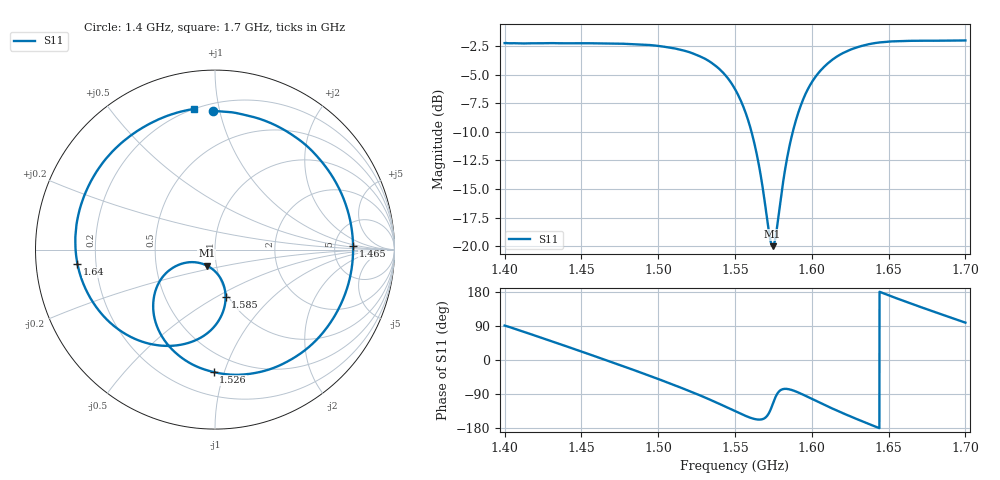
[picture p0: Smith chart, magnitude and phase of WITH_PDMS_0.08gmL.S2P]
!Keysight Technologies,E5063A,MY54503975,A.05.08
!Date: Fri Mar 07 04:41:50 2025
!Data & Calibration Information:
!Freq	S11:NONE(--)	S21:RESPT(ON)	S12:NONE(--)	S22:NONE(--)
# Hz S RI R 50
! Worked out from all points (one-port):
!   3001 points, 1.4 GHz to 1.7 GHz, reference 50 ohm
!   lowest |S11| = -20.0 dB at 1.575 GHz (marker M1), VSWR 1.22, Z = 45 - j8.09 ohm
!   |S11| at or under -10 dB: 1.561 GHz to 1.588 GHz (26.91 MHz wide, 1.71 % of centre)
!   S11 on the Smith chart (normalised r, x): 1.4 GHz: 0.25, +0.95; 1.465 GHz: 7.62, +0.68; 1.526 GHz: 0.36, -0.92; 1.585 GHz: 0.97, -0.56; 1.64 GHz: 0.13, -0.05; 1.7 GHz: 0.20, +0.84
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1.4e9  -0.0108 0.7715  -0 -0  0 0  0 0
1.424e9  0.4005 0.6581  0 -0  0 0  0 0
1.45e9  0.7126 0.293  -0 0  0 0  0 0
1.4648e9  0.7694 0.0182  -0 0  0 0  0 0
1.482e9  0.7017 -0.303  -0 0  0 0  0 0
1.5e9  0.481 -0.5757  0 -0  0 0  0 0
1.5133e9  0.2396 -0.6842  0 0  0 0  0 0
1.5256e9  -0.00769 -0.6823  0 0  0 0  0 0
1.5396e9  -0.2551 -0.5391  0 0  0 0  0 0
1.55e9  -0.3432 -0.3436  0 -0  0 0  0 0
1.562e9  -0.2651 -0.124  0 0  0 0  0 0
1.5745e9  -0.0454 -0.089  0 0  0 0  0 0
1.5854e9  0.0591 -0.2658  0 0  0 0  0 0
1.6e9  -0.1143 -0.5077  0 -0  0 0  0 0
1.6084e9  -0.2951 -0.5353  0 -0  0 0  0 0
1.6174e9  -0.484 -0.4787  -0 0  0 0  0 0
1.6291e9  -0.672 -0.3055  -0 0  0 0  0 0
1.6404e9  -0.7665 -0.079  -0 -0  0 0  0 0
1.65e9  -0.7733 0.1257  -0 -0  0 0  0 0
1.6625e9  -0.6966 0.3707  -0 -0  0 0  0 0
1.6761e9  -0.5312 0.5855  -0 -0  0 0  0 0
1.7e9  -0.1183 0.7836  -0 -0  0 0  0 0
